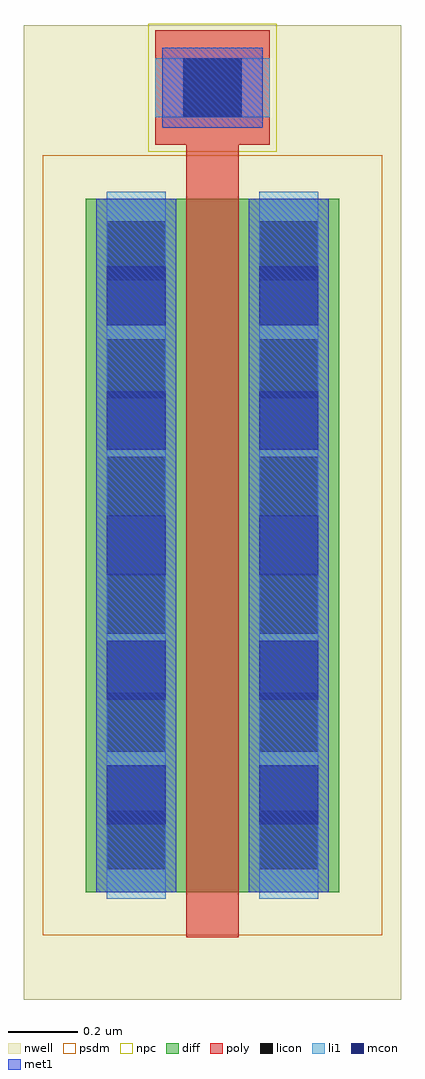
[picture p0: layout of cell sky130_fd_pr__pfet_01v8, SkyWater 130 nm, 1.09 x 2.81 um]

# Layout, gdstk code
import gdstk
lib = gdstk.Library(unit=1e-6, precision=1e-09)
def R(c, l, rs):  # rectangles x0, y0, x1, y1
    for r in rs: c.add(gdstk.rectangle(r[:2], r[2:], *l))
def A(c, l, x, y, w, h, nx, ny, dx, dy):  # array of equal rectangles
    R(c, l, [(x+i*dx, y+j*dy, x+i*dx+w, y+j*dy+h) for i in range(nx) for j in range(ny)])
nwell = (64, 20)
diff = (65, 20)
poly = (66, 20)
licon = (66, 44)
li1 = (67, 20)
mcon = (67, 44)
met1 = (68, 20)
psdm = (94, 20)
npc = (95, 20)

sky130_fd_pr__pfet_01v8 = lib.new_cell('sky130_fd_pr__pfet_01v8')
R(sky130_fd_pr__pfet_01v8, nwell, [(-0.545,-1.49,0.545,1.32)])
R(sky130_fd_pr__pfet_01v8, diff, [(-0.365,-1.18,0.365,0.82)])
R(sky130_fd_pr__pfet_01v8, poly, [(-0.075,-1.31,0.075,0.975), (-0.165,0.975,0.165,1.305)])
A(sky130_fd_pr__pfet_01v8, licon, -0.305, -1.115, 0.17, 0.17, 1, 6, 0, 0.34)
A(sky130_fd_pr__pfet_01v8, licon, 0.135, -1.115, 0.17, 0.17, 1, 6, 0, 0.34)
R(sky130_fd_pr__pfet_01v8, licon, [(-0.085,1.055,0.085,1.225)])
R(sky130_fd_pr__pfet_01v8, li1, [(-0.305,-1.2,-0.135,0.84), (0.135,-1.2,0.305,0.84), (-0.165,1.055,0.165,1.225)])
A(sky130_fd_pr__pfet_01v8, mcon, -0.305, -0.985, 0.17, 0.17, 1, 5, 0, 0.36)
A(sky130_fd_pr__pfet_01v8, mcon, 0.135, -0.985, 0.17, 0.17, 1, 5, 0, 0.36)
R(sky130_fd_pr__pfet_01v8, mcon, [(-0.085,1.055,0.085,1.225)])
R(sky130_fd_pr__pfet_01v8, met1, [(-0.335,-1.18,-0.105,0.82), (0.105,-1.18,0.335,0.82), (-0.145,1.025,0.145,1.255)])
R(sky130_fd_pr__pfet_01v8, psdm, [(-0.49,-1.305,0.49,0.945)])
R(sky130_fd_pr__pfet_01v8, npc, [(-0.185,0.955,0.185,1.325)])

lib.write_gds('sky130_fd_pr__pfet_01v8.gds')
